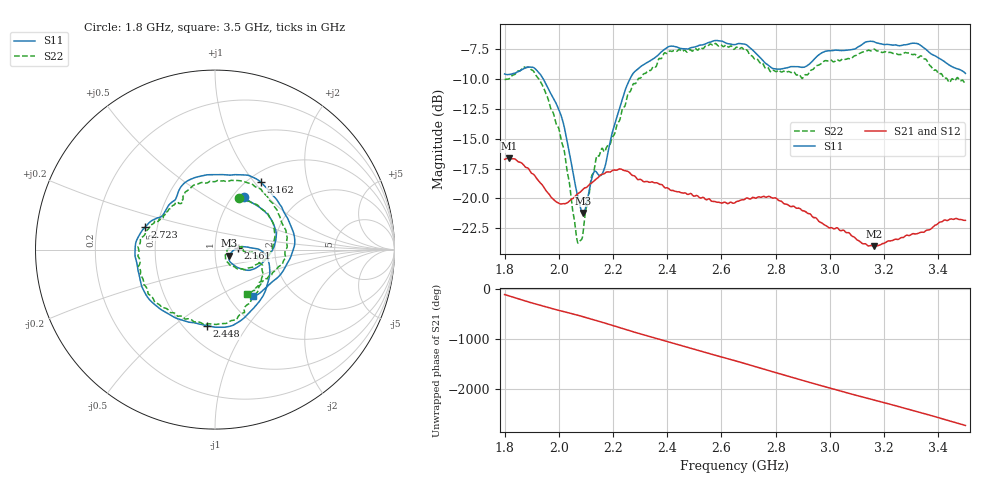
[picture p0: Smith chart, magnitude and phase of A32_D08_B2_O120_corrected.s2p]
! Created with skrf 1.9.0 (http://scikit-rf.org).
# Hz S RI R 50.0
!freq ReS11 ImS11 ReS21 ImS21 ReS12 ImS12 ReS22 ImS22
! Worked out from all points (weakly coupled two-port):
!   1601 points, 1.8 GHz to 3.5 GHz, reference 50 ohm
!   highest |S21| = -16.64 dB at 1.816 GHz (marker M1); lowest = -24.0 dB at 3.164 GHz (marker M2)
!   lowest |S11| = -21.2 dB at 2.09 GHz (marker M3), VSWR 1.19, Z = 58.6 - j3.91 ohm
!   |S11| at or under -10 dB: 1.943 GHz to 2.262 GHz (318.5 MHz wide, 15.1 % of centre)
!   |S22| runs from -23.8 to -7.0 dB; largest |S21 - S12| = 0.0028
!   S11 on the Smith chart (normalised r, x): 1.8 GHz: 1.12, +0.74; 2.161 GHz: 1.29, +0.02; 2.448 GHz: 0.64, -0.67; 2.723 GHz: 0.43, +0.13; 3.162 GHz: 1.14, +1.08; 3.5 GHz: 1.29, -0.75
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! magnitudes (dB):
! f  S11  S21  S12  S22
! 1.8 GHz  -9.6  -16.7  -16.7  -10.0
! 1.816 GHz  -9.6  -16.6  -16.6  -10.0
! 1.886 GHz  -9.0  -17.5  -17.5  -9.0
! 1.941 GHz  -9.9  -18.9  -18.9  -10.6
! 2.013 GHz  -13.3  -20.5  -20.5  -15.4
! 2.066 GHz  -19.4  -19.7  -19.7  -23.3
! 2.084 GHz  -21.1  -19.4  -19.3  -23.4
! 2.09 GHz  -21.2  -19.2  -19.3  -22.8
! 2.128 GHz  -17.8  -18.6  -18.6  -17.8
! 2.161 GHz  -17.9  -18.0  -17.9  -15.8
! 2.259 GHz  -10.1  -17.8  -17.8  -11.1
! 2.367 GHz  -8.0  -18.8  -18.7  -8.4
! 2.448 GHz  -7.4  -19.5  -19.5  -7.6
! 2.65 GHz  -7.1  -20.4  -20.3  -7.4
! 2.723 GHz  -7.7  -20.0  -19.9  -8.3
! 2.798 GHz  -9.1  -20.0  -19.9  -9.3
! 2.934 GHz  -8.5  -21.5  -21.5  -9.2
! 3.162 GHz  -6.8  -24.0  -24.0  -7.5
! 3.164 GHz  -6.9  -24.0  -24.0  -7.5
! 3.217 GHz  -7.1  -23.6  -23.6  -7.8
! 3.324 GHz  -7.0  -22.9  -22.9  -8.2
! 3.5 GHz  -9.5  -21.8  -21.8  -10.4
